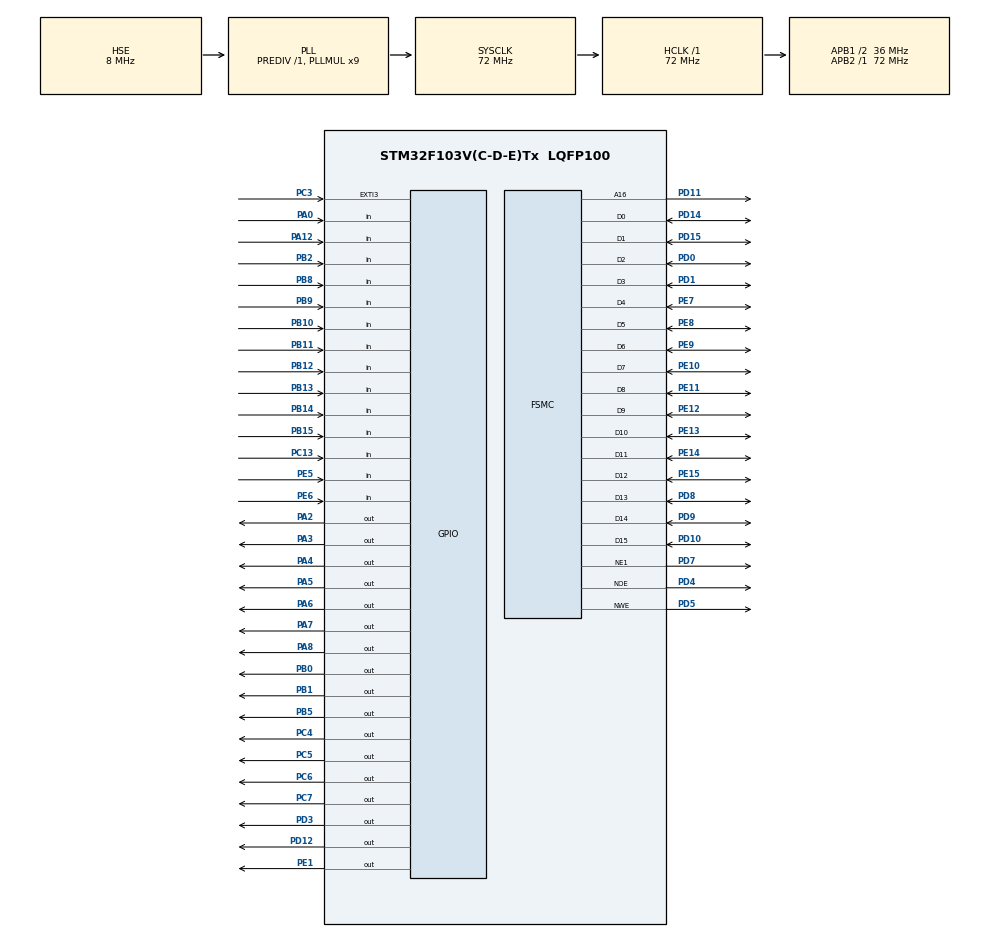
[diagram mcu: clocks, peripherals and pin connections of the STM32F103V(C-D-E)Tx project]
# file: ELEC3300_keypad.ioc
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Mcu.Family=STM32F1
Mcu.Name=STM32F103V(C-D-E)Tx
Mcu.Package=LQFP100
NVIC.EXTI3_IRQn=true\:0\:0\:false\:false\:true\:true\:true
NVIC.PriorityGroup=NVIC_PRIORITYGROUP_4
OSC_IN.Mode=HSE-External-Oscillator
OSC_IN.Signal=RCC_OSC_IN
OSC_OUT.Mode=HSE-External-Oscillator
OSC_OUT.Signal=RCC_OSC_OUT
PA0-WKUP.Signal=GPIO_Input
PA12.GPIO_PuPd=GPIO_PULLUP
PA12.Signal=GPIO_Input
PA13.Mode=Serial_Wire
PA13.Signal=SYS_JTMS-SWDIO
PA14.Mode=Serial_Wire
PA14.Signal=SYS_JTCK-SWCLK
PA2.GPIO_Speed=GPIO_SPEED_FREQ_HIGH
PA2.Signal=GPIO_Output
PA3.GPIO_Speed=GPIO_SPEED_FREQ_HIGH
PA3.Signal=GPIO_Output
PA4.Signal=GPIO_Output
PA5.Signal=GPIO_Output
PA6.Signal=GPIO_Output
PA7.Signal=GPIO_Output
PA8.Signal=GPIO_Output
PB0.GPIO_Speed=GPIO_SPEED_FREQ_HIGH
PB0.Signal=GPIO_Output
PB1.GPIO_Speed=GPIO_SPEED_FREQ_HIGH
PB1.Signal=GPIO_Output
PB10.Signal=GPIO_Input
PB11.Signal=GPIO_Input
PB12.Signal=GPIO_Input
PB13.Signal=GPIO_Input
PB14.Signal=GPIO_Input
PB15.Signal=GPIO_Input
PB2.GPIO_PuPd=GPIO_PULLUP
PB2.Signal=GPIO_Input
PB5.GPIO_Speed=GPIO_SPEED_FREQ_HIGH
PB5.Signal=GPIO_Output
PB8.Signal=GPIO_Input
PB9.Signal=GPIO_Input
PC13-TAMPER-RTC.GPIO_PuPd=GPIO_NOPULL
PC13-TAMPER-RTC.Signal=GPIO_Input
PC14-OSC32_IN.Mode=LSE-External-Oscillator
PC14-OSC32_IN.Signal=RCC_OSC32_IN
PC15-OSC32_OUT.Mode=LSE-External-Oscillator
PC15-OSC32_OUT.Signal=RCC_OSC32_OUT
PC3.GPIO_ModeDefaultEXTI=GPIO_MODE_IT_FALLING
PC3.Signal=GPXTI3
PC4.GPIO_Speed=GPIO_SPEED_FREQ_HIGH
PC4.Signal=GPIO_Output
PC5.GPIO_Speed=GPIO_SPEED_FREQ_HIGH
PC5.Signal=GPIO_Output
PC6.GPIO_ModeDefaultOutputPP=GPIO_MODE_OUTPUT_OD
PC6.GPIO_PuPd=GPIO_NOPULL
PC6.GPIO_Speed=GPIO_SPEED_FREQ_HIGH
PC6.Signal=GPIO_Output
PC7.GPIO_ModeDefaultOutputPP=GPIO_MODE_OUTPUT_OD
PC7.GPIO_Speed=GPIO_SPEED_FREQ_HIGH
PC7.Signal=GPIO_Output
PD0.Mode=16b-d1
PD0.Signal=FSMC_D2
PD1.Mode=16b-d1
PD1.Signal=FSMC_D3
PD10.Mode=16b-d1
PD10.Signal=FSMC_D15
PD11.Mode=A16_1
PD11.Signal=FSMC_A16
PD12.GPIO_Speed=GPIO_SPEED_FREQ_HIGH
PD12.PinState=GPIO_PIN_RESET
PD12.Signal=GPIO_Output
PD14.Mode=16b-d1
PD14.Signal=FSMC_D0
PD15.Mode=16b-d1
PD15.Signal=FSMC_D1
PD3.GPIO_Speed=GPIO_SPEED_FREQ_HIGH
PD3.Signal=GPIO_Output
PD4.Mode=Lcd1
PD4.Signal=FSMC_NOE
PD5.Mode=Lcd1
PD5.Signal=FSMC_NWE
PD7.Mode=NorPsramChipSelect1_1
PD7.Signal=FSMC_NE1
PD8.Mode=16b-d1
PD8.Signal=FSMC_D13
PD9.Mode=16b-d1
PD9.Signal=FSMC_D14
PE1.GPIO_Speed=GPIO_SPEED_FREQ_HIGH
PE1.PinState=GPIO_PIN_RESET
PE1.Signal=GPIO_Output
PE10.Mode=16b-d1
PE10.Signal=FSMC_D7
PE11.Mode=16b-d1
PE11.Signal=FSMC_D8
PE12.Mode=16b-d1
PE12.Signal=FSMC_D9
PE13.Mode=16b-d1
PE13.Signal=FSMC_D10
PE14.Mode=16b-d1
PE14.Signal=FSMC_D11
PE15.Mode=16b-d1
PE15.Signal=FSMC_D12
PE5.GPIO_PuPd=GPIO_PULLUP
PE5.Signal=GPIO_Input
PE6.GPIO_PuPd=GPIO_PULLUP
PE6.Signal=GPIO_Input
PE7.Mode=16b-d1
PE7.Signal=FSMC_D4
PE8.Mode=16b-d1
PE8.Signal=FSMC_D5
PE9.Mode=16b-d1
PE9.Signal=FSMC_D6
ProjectManager.HeapSize=0x200
ProjectManager.StackSize=0x400
ProjectManager.TargetToolchain=MDK-ARM V5.32
RCC.AHBFreq_Value=72000000
RCC.APB1CLKDivider=RCC_HCLK_DIV2
RCC.APB1Freq_Value=36000000
RCC.APB1TimFreq_Value=72000000
RCC.APB2Freq_Value=72000000
RCC.APB2TimFreq_Value=72000000
RCC.HCLKFreq_Value=72000000
RCC.PLLMUL=RCC_PLL_MUL9
RCC.PLLSourceVirtual=RCC_PLLSOURCE_HSE
RCC.SYSCLKFreq_VALUE=72000000
RCC.SYSCLKSource=RCC_SYSCLKSOURCE_PLLCLK
RCC.USBFreq_Value=72000000
board=custom

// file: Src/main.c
/* USER CODE BEGIN Header */
/**
  ******************************************************************************
  * @file           : main.c
  * @brief          : Main program body
  ******************************************************************************
  * @attention
  *
  * <h2><center>&copy; Copyright (c) 2022 STMicroelectronics.
  * All rights reserved.</center></h2>
  *
  * This software component is licensed by ST under BSD 3-Clause license,
  * the "License"; You may not use this file except in compliance with the
  * License. You may obtain a copy of the License at:
  *                        opensource.org/licenses/BSD-3-Clause
  *
  ******************************************************************************
  */
/* USER CODE END Header */

#include "main.h"

/* USER CODE BEGIN Includes */
#include "lcd.h"
#include "bsp_ov7725.h"
#include "bsp_sccb.h"
#include <string.h>
/* USER CODE END Includes */

SRAM_HandleTypeDef hsram1;

void SystemClock_Config(void);
static void MX_GPIO_Init(void);
static void MX_FSMC_Init(void);
/* USER CODE BEGIN PFP */
char read_keypad(void); //function to read keypad
void enterPassword(char *arr);

uint8_t key_read;
char password[4], password_enter[4];
int re_entry;
volatile uint8_t Ov7725_vsync ;
/* USER CODE END PFP */

/* USER CODE BEGIN 0 */
char read_keypad (void)
{
	/* Make ROW 1 LOW and all other ROWs HIGH */
	HAL_GPIO_WritePin (GPIOA, GPIO_PIN_4, GPIO_PIN_RESET);  //Pull the R1 low
	HAL_GPIO_WritePin (GPIOA, GPIO_PIN_5, GPIO_PIN_SET);  	// Pull the R2 High
	HAL_GPIO_WritePin (GPIOA, GPIO_PIN_6, GPIO_PIN_SET);  	// Pull the R3 High
	HAL_GPIO_WritePin (GPIOA, GPIO_PIN_7, GPIO_PIN_SET);  	// Pull the R4 High

	if (HAL_GPIO_ReadPin (GPIOE, GPIO_PIN_5) == RESET){
		HAL_Delay(200);
		return '1';
	}else if (HAL_GPIO_ReadPin (GPIOE, GPIO_PIN_6) == RESET){
		HAL_Delay(200);
		return '2';
	}else if (HAL_GPIO_ReadPin (GPIOB, GPIO_PIN_2) == RESET){
		HAL_Delay(200);
		return '3';
	}else if (HAL_GPIO_ReadPin (GPIOA, GPIO_PIN_12) == RESET){
		HAL_Delay(200);
		return 'A';
	}

	/* Make ROW 2 LOW and all other ROWs HIGH */
	HAL_GPIO_WritePin (GPIOA, GPIO_PIN_4, GPIO_PIN_SET);  	//Pull the R1 High
	HAL_GPIO_WritePin (GPIOA, GPIO_PIN_5, GPIO_PIN_RESET);  // Pull the R2 low
	HAL_GPIO_WritePin (GPIOA, GPIO_PIN_6, GPIO_PIN_SET);  	// Pull the R3 High
	HAL_GPIO_WritePin (GPIOA, GPIO_PIN_7, GPIO_PIN_SET);  	// Pull the R4 High
	if (HAL_GPIO_ReadPin (GPIOE, GPIO_PIN_5) == RESET){
		HAL_Delay(200);
		return '4';
	}else if (HAL_GPIO_ReadPin (GPIOE, GPIO_PIN_6) == RESET){
		HAL_Delay(200);
		return '5';
	}else if (HAL_GPIO_ReadPin (GPIOB, GPIO_PIN_2) == RESET){
		HAL_Delay(200);
		return '6';
	}else if (HAL_GPIO_ReadPin (GPIOA, GPIO_PIN_12) == RESET){
		HAL_Delay(200);
		return 'B';
	}

	/* Make ROW 3 LOW and all other ROWs HIGH */
  HAL_GPIO_WritePin (GPIOA, GPIO_PIN_4, GPIO_PIN_SET);  	//Pull the R1 High
	HAL_GPIO_WritePin (GPIOA, GPIO_PIN_5, GPIO_PIN_SET);  	// Pull the R2 High
	HAL_GPIO_WritePin (GPIOA, GPIO_PIN_6, GPIO_PIN_RESET);  // Pull the R3 low
	HAL_GPIO_WritePin (GPIOA, GPIO_PIN_7, GPIO_PIN_SET);  	// Pull the R4 High
	if (HAL_GPIO_ReadPin (GPIOE, GPIO_PIN_5) == RESET){
		HAL_Delay(200);
		return '7';
	}else if (HAL_GPIO_ReadPin (GPIOE, GPIO_PIN_6) == RESET){
		HAL_Delay(200);
		return '8';
	}else if (HAL_GPIO_ReadPin (GPIOB, GPIO_PIN_2) == RESET){
		HAL_Delay(200);
		return '9';
	}else if (HAL_GPIO_ReadPin (GPIOA, GPIO_PIN_12) == RESET){
		HAL_Delay(200);
		return 'C';
	}

	/* Make ROW 4 LOW and all other ROWs HIGH */
  HAL_GPIO_WritePin (GPIOA, GPIO_PIN_4, GPIO_PIN_SET);  	//Pull the R1 High
	HAL_GPIO_WritePin (GPIOA, GPIO_PIN_5, GPIO_PIN_SET);  	// Pull the R2 High
	HAL_GPIO_WritePin (GPIOA, GPIO_PIN_6, GPIO_PIN_SET);  	// Pull the R3 High
	HAL_GPIO_WritePin (GPIOA, GPIO_PIN_7, GPIO_PIN_RESET);  // Pull the R4 low
	if (HAL_GPIO_ReadPin (GPIOE, GPIO_PIN_5) == RESET){
		HAL_Delay(200);
		return '*';
	}else if (HAL_GPIO_ReadPin (GPIOE, GPIO_PIN_6) == RESET){
		HAL_Delay(200);
		return '0';
	}else if (HAL_GPIO_ReadPin (GPIOB, GPIO_PIN_2) == RESET){
		HAL_Delay(200);
		return '#';
	}else if (HAL_GPIO_ReadPin (GPIOA, GPIO_PIN_12) == RESET){
		HAL_Delay(200);
		return 'D';
	}
	return 'N';
};

void enterPassword(char* arr){
	LCD_DrawString(10,45,"Press * to delete the previous place");
	LCD_DrawString(10,78,"Press # after you complete");

	int i = 0;
	while(i<=4){
		if (i < 4){
			arr[i] = ' ';
		}
		LCD_DrawString(100,27,arr);
		do{
			key_read = read_keypad();
			HAL_Delay(100);
		}while(key_read == 'N');
		if (key_read == '#' && i == 4){
			break;
		}else if (key_read == '*' && i != 0){
			i--;
			continue;
		}else if (key_read != '*' || key_read != '#'){
			arr[i] = key_read;
			i++;
		}
	}
};
/* USER CODE END 0 */

int main(void)
{

  /* MCU Configuration--------------------------------------------------------*/

  /* Reset of all peripherals, Initializes the Flash interface and the Systick. */
  HAL_Init();

  /* Configure the system clock */
  SystemClock_Config();

  /* Initialize all configured peripherals */
  MX_GPIO_Init();
  MX_FSMC_Init();
  /* USER CODE BEGIN 2 */
	LCD_INIT();
	HAL_GPIO_WritePin(GPIOB, GPIO_PIN_5, GPIO_PIN_SET);							//red off at the beginning
	HAL_GPIO_WritePin(GPIOB, GPIO_PIN_0, GPIO_PIN_SET);							//green off at the beginning
	HAL_GPIO_WritePin(GPIOB, GPIO_PIN_1, GPIO_PIN_SET);							//blue off at the beginning

	LCD_DrawString(10,10,"Please set a password with 4 places :");
	enterPassword(password); 																				//set password
	LCD_DrawString(10,100,"Password successfully set");
  /* USER CODE END 2 */

  /* Infinite loop */
  /* USER CODE BEGIN WHILE */
	while(Ov7725_Init() != SUCCESS); 		//initialize camera ov7725; if any error, loop forever
	Ov7725_vsync = 0;   								//for detecting if camera finish capturing; if yes, it becomes 2 as detecting two failing edge in VSYNC
	re_entry = 0;

	while (1)
  {
		HAL_Delay(2000);
		HAL_GPIO_WritePin(GPIOB, GPIO_PIN_5, GPIO_PIN_RESET);					//red on = door lock
		HAL_GPIO_WritePin(GPIOB, GPIO_PIN_0, GPIO_PIN_SET);						//green off
		HAL_GPIO_WritePin(GPIOB, GPIO_PIN_1, GPIO_PIN_SET);						//blue off

		LCD_Clear(0,0,240,320, BLACK);
		LCD_DrawString(10,10,"Please enter your password :");

		enterPassword(password_enter); //enter password

		//verify password
		while(read_keypad() != '#'); //loop forever until user press *
		HAL_GPIO_WritePin(GPIOB, GPIO_PIN_5, GPIO_PIN_SET);//red off

		if (strncmp(password, password_enter,sizeof(password)) == 0){
			LCD_DrawString(10,100,"Correct password. Door is unlocked.");
			HAL_GPIO_WritePin(GPIOB, GPIO_PIN_0, GPIO_PIN_RESET);				//green on = door open
			break;
		}else{
			int i;
			for(i = 0; i<4; i++){password_enter[i] = ' ';}
			LCD_DrawString(10,100,"Incorrect password. Please re-enter the password again.");
			HAL_GPIO_WritePin(GPIOB, GPIO_PIN_1, GPIO_PIN_RESET);				//blue on = wrong password
			re_entry++;
			if (re_entry > 2){
				if (Ov7725_vsync == 2){ //finish capturing
					FIFO_PREPARE; //ready for FIFO
					ImagDisp();			//function in bsp_ov7725.c
					Ov7725_vsync = 0;   //reset to 0 for detect next photo
					break;
				}
			}
		}
    /* USER CODE END WHILE */

  }
}

void SystemClock_Config(void)
{
  RCC_OscInitTypeDef RCC_OscInitStruct = {0};
  RCC_ClkInitTypeDef RCC_ClkInitStruct = {0};

  /** Initializes the CPU, AHB and APB busses clocks
  */
  RCC_OscInitStruct.OscillatorType = RCC_OSCILLATORTYPE_HSE;
  RCC_OscInitStruct.HSEState = RCC_HSE_ON;
  RCC_OscInitStruct.HSEPredivValue = RCC_HSE_PREDIV_DIV1;
  RCC_OscInitStruct.HSIState = RCC_HSI_ON;
  RCC_OscInitStruct.PLL.PLLState = RCC_PLL_ON;
  RCC_OscInitStruct.PLL.PLLSource = RCC_PLLSOURCE_HSE;
  RCC_OscInitStruct.PLL.PLLMUL = RCC_PLL_MUL9;
  if (HAL_RCC_OscConfig(&RCC_OscInitStruct) != HAL_OK)
  {
    Error_Handler();
  }
  /** Initializes the CPU, AHB and APB busses clocks
  */
  RCC_ClkInitStruct.ClockType = RCC_CLOCKTYPE_HCLK|RCC_CLOCKTYPE_SYSCLK
                              |RCC_CLOCKTYPE_PCLK1|RCC_CLOCKTYPE_PCLK2;
  RCC_ClkInitStruct.SYSCLKSource = RCC_SYSCLKSOURCE_PLLCLK;
  RCC_ClkInitStruct.AHBCLKDivider = RCC_SYSCLK_DIV1;
  RCC_ClkInitStruct.APB1CLKDivider = RCC_HCLK_DIV2;
  RCC_ClkInitStruct.APB2CLKDivider = RCC_HCLK_DIV1;

  if (HAL_RCC_ClockConfig(&RCC_ClkInitStruct, FLASH_LATENCY_2) != HAL_OK)
  {
    Error_Handler();
  }
}

static void MX_GPIO_Init(void)
{
  GPIO_InitTypeDef GPIO_InitStruct = {0};

  /* GPIO Ports Clock Enable */
  __HAL_RCC_GPIOE_CLK_ENABLE();
  __HAL_RCC_GPIOC_CLK_ENABLE();
  __HAL_RCC_GPIOA_CLK_ENABLE();
  __HAL_RCC_GPIOB_CLK_ENABLE();
  __HAL_RCC_GPIOD_CLK_ENABLE();

  /*Configure GPIO pin Output Level */
  HAL_GPIO_WritePin(GPIOA, GPIO_PIN_2|GPIO_PIN_3|GPIO_PIN_4|GPIO_PIN_5
                          |GPIO_PIN_6|GPIO_PIN_7|GPIO_PIN_8, GPIO_PIN_RESET);

  /*Configure GPIO pin Output Level */
  HAL_GPIO_WritePin(GPIOC, GPIO_PIN_4|GPIO_PIN_5|GPIO_PIN_6|GPIO_PIN_7, GPIO_PIN_RESET);

  /*Configure GPIO pin Output Level */
  HAL_GPIO_WritePin(GPIOB, GPIO_PIN_0|GPIO_PIN_1|GPIO_PIN_5, GPIO_PIN_RESET);

  /*Configure GPIO pin Output Level */
  HAL_GPIO_WritePin(GPIOD, GPIO_PIN_12|GPIO_PIN_3, GPIO_PIN_RESET);

  /*Configure GPIO pin Output Level */
  HAL_GPIO_WritePin(GPIOE, GPIO_PIN_1, GPIO_PIN_RESET);

  /*Configure GPIO pins : PE5 PE6 */
  GPIO_InitStruct.Pin = GPIO_PIN_5|GPIO_PIN_6;
  GPIO_InitStruct.Mode = GPIO_MODE_INPUT;
  GPIO_InitStruct.Pull = GPIO_PULLUP;
  HAL_GPIO_Init(GPIOE, &GPIO_InitStruct);

  /*Configure GPIO pin : PC13 */
  GPIO_InitStruct.Pin = GPIO_PIN_13;
  GPIO_InitStruct.Mode = GPIO_MODE_INPUT;
  GPIO_InitStruct.Pull = GPIO_NOPULL;
  HAL_GPIO_Init(GPIOC, &GPIO_InitStruct);

  /*Configure GPIO pin : PC3 */
  GPIO_InitStruct.Pin = GPIO_PIN_3;
  GPIO_InitStruct.Mode = GPIO_MODE_IT_FALLING;
  GPIO_InitStruct.Pull = GPIO_NOPULL;
  HAL_GPIO_Init(GPIOC, &GPIO_InitStruct);

  /*Configure GPIO pin : PA0 */
  GPIO_InitStruct.Pin = GPIO_PIN_0;
  GPIO_InitStruct.Mode = GPIO_MODE_INPUT;
  GPIO_InitStruct.Pull = GPIO_NOPULL;
  HAL_GPIO_Init(GPIOA, &GPIO_InitStruct);

  /*Configure GPIO pins : PA2 PA3 */
  GPIO_InitStruct.Pin = GPIO_PIN_2|GPIO_PIN_3;
  GPIO_InitStruct.Mode = GPIO_MODE_OUTPUT_PP;
  GPIO_InitStruct.Pull = GPIO_NOPULL;
  GPIO_InitStruct.Speed = GPIO_SPEED_FREQ_HIGH;
  HAL_GPIO_Init(GPIOA, &GPIO_InitStruct);

  /*Configure GPIO pins : PA4 PA5 PA6 PA7
                           PA8 */
  GPIO_InitStruct.Pin = GPIO_PIN_4|GPIO_PIN_5|GPIO_PIN_6|GPIO_PIN_7
                          |GPIO_PIN_8;
  GPIO_InitStruct.Mode = GPIO_MODE_OUTPUT_PP;
  GPIO_InitStruct.Pull = GPIO_NOPULL;
  GPIO_InitStruct.Speed = GPIO_SPEED_FREQ_LOW;
  HAL_GPIO_Init(GPIOA, &GPIO_InitStruct);

  /*Configure GPIO pins : PC4 PC5 */
  GPIO_InitStruct.Pin = GPIO_PIN_4|GPIO_PIN_5;
  GPIO_InitStruct.Mode = GPIO_MODE_OUTPUT_PP;
  GPIO_InitStruct.Pull = GPIO_NOPULL;
  GPIO_InitStruct.Speed = GPIO_SPEED_FREQ_HIGH;
  HAL_GPIO_Init(GPIOC, &GPIO_InitStruct);

  /*Configure GPIO pins : PB0 PB1 PB5 */
  GPIO_InitStruct.Pin = GPIO_PIN_0|GPIO_PIN_1|GPIO_PIN_5;
  GPIO_InitStruct.Mode = GPIO_MODE_OUTPUT_PP;
  GPIO_InitStruct.Pull = GPIO_NOPULL;
  GPIO_InitStruct.Speed = GPIO_SPEED_FREQ_HIGH;
  HAL_GPIO_Init(GPIOB, &GPIO_InitStruct);

  /*Configure GPIO pin : PB2 */
  GPIO_InitStruct.Pin = GPIO_PIN_2;
  GPIO_InitStruct.Mode = GPIO_MODE_INPUT;
  GPIO_InitStruct.Pull = GPIO_PULLUP;
  HAL_GPIO_Init(GPIOB, &GPIO_InitStruct);

  /*Configure GPIO pins : PB10 PB11 PB12 PB13
                           PB14 PB15 PB8 PB9 */
  GPIO_InitStruct.Pin = GPIO_PIN_10|GPIO_PIN_11|GPIO_PIN_12|GPIO_PIN_13
                          |GPIO_PIN_14|GPIO_PIN_15|GPIO_PIN_8|GPIO_PIN_9;
  GPIO_InitStruct.Mode = GPIO_MODE_INPUT;
  GPIO_InitStruct.Pull = GPIO_NOPULL;
  HAL_GPIO_Init(GPIOB, &GPIO_InitStruct);

  /*Configure GPIO pins : PD12 PD3 */
  GPIO_InitStruct.Pin = GPIO_PIN_12|GPIO_PIN_3;
  GPIO_InitStruct.Mode = GPIO_MODE_OUTPUT_PP;
  GPIO_InitStruct.Pull = GPIO_NOPULL;
  GPIO_InitStruct.Speed = GPIO_SPEED_FREQ_HIGH;
  HAL_GPIO_Init(GPIOD, &GPIO_InitStruct);

  /*Configure GPIO pins : PC6 PC7 */
  GPIO_InitStruct.Pin = GPIO_PIN_6|GPIO_PIN_7;
  GPIO_InitStruct.Mode = GPIO_MODE_OUTPUT_OD;
  GPIO_InitStruct.Pull = GPIO_NOPULL;
  GPIO_InitStruct.Speed = GPIO_SPEED_FREQ_HIGH;
  HAL_GPIO_Init(GPIOC, &GPIO_InitStruct);

  /*Configure GPIO pin : PA12 */
  GPIO_InitStruct.Pin = GPIO_PIN_12;
  GPIO_InitStruct.Mode = GPIO_MODE_INPUT;
  GPIO_InitStruct.Pull = GPIO_PULLUP;
  HAL_GPIO_Init(GPIOA, &GPIO_InitStruct);

  /*Configure GPIO pin : PE1 */
  GPIO_InitStruct.Pin = GPIO_PIN_1;
  GPIO_InitStruct.Mode = GPIO_MODE_OUTPUT_PP;
  GPIO_InitStruct.Pull = GPIO_NOPULL;
  GPIO_InitStruct.Speed = GPIO_SPEED_FREQ_HIGH;
  HAL_GPIO_Init(GPIOE, &GPIO_InitStruct);

  /* EXTI interrupt init*/
  HAL_NVIC_SetPriority(EXTI3_IRQn, 0, 0);
  HAL_NVIC_EnableIRQ(EXTI3_IRQn);

}

/* FSMC initialization function */
static void MX_FSMC_Init(void)
{

  FSMC_NORSRAM_TimingTypeDef Timing = {0};

  /** Perform the SRAM1 memory initialization sequence
  */
  hsram1.Instance = FSMC_NORSRAM_DEVICE;
  hsram1.Extended = FSMC_NORSRAM_EXTENDED_DEVICE;
  /* hsram1.Init */
  hsram1.Init.NSBank = FSMC_NORSRAM_BANK1;
  hsram1.Init.DataAddressMux = FSMC_DATA_ADDRESS_MUX_DISABLE;
  hsram1.Init.MemoryType = FSMC_MEMORY_TYPE_SRAM;
  hsram1.Init.MemoryDataWidth = FSMC_NORSRAM_MEM_BUS_WIDTH_16;
  hsram1.Init.BurstAccessMode = FSMC_BURST_ACCESS_MODE_DISABLE;
  hsram1.Init.WaitSignalPolarity = FSMC_WAIT_SIGNAL_POLARITY_LOW;
  hsram1.Init.WrapMode = FSMC_WRAP_MODE_DISABLE;
  hsram1.Init.WaitSignalActive = FSMC_WAIT_TIMING_BEFORE_WS;
  hsram1.Init.WriteOperation = FSMC_WRITE_OPERATION_ENABLE;
  hsram1.Init.WaitSignal = FSMC_WAIT_SIGNAL_DISABLE;
  hsram1.Init.ExtendedMode = FSMC_EXTENDED_MODE_DISABLE;
  hsram1.Init.AsynchronousWait = FSMC_ASYNCHRONOUS_WAIT_DISABLE;
  hsram1.Init.WriteBurst = FSMC_WRITE_BURST_DISABLE;
  /* Timing */
  Timing.AddressSetupTime = 15;
  Timing.AddressHoldTime = 15;
  Timing.DataSetupTime = 255;
  Timing.BusTurnAroundDuration = 15;
  Timing.CLKDivision = 16;
  Timing.DataLatency = 17;
  Timing.AccessMode = FSMC_ACCESS_MODE_A;
  /* ExtTiming */

  if (HAL_SRAM_Init(&hsram1, &Timing, NULL) != HAL_OK)
  {
    Error_Handler( );
  }

  /** Disconnect NADV
  */

  __HAL_AFIO_FSMCNADV_DISCONNECTED();

}

void Error_Handler(void)
{
}

/************************ (C) COPYRIGHT STMicroelectronics *****END OF FILE****/
